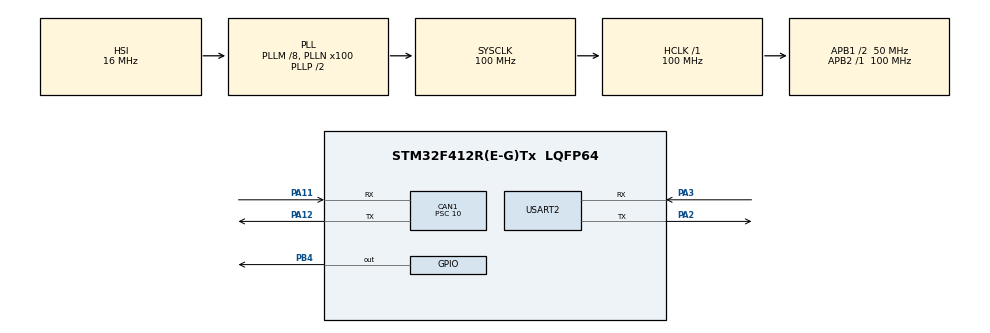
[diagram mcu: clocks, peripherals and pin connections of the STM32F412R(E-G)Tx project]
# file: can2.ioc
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CAN1.BS1=CAN_BS1_7TQ
CAN1.BS2=CAN_BS2_2TQ
CAN1.CalculateBaudRate=500000
CAN1.CalculateTimeBit=2000
CAN1.CalculateTimeQuantum=200.0
CAN1.Prescaler=10
Mcu.Family=STM32F4
Mcu.Name=STM32F412R(E-G)Tx
Mcu.Package=LQFP64
NVIC.CAN1_RX0_IRQn=true\:0\:0\:false\:false\:true\:true\:true\:true
NVIC.PriorityGroup=NVIC_PRIORITYGROUP_4
PA11.GPIO_PuPd=GPIO_NOPULL
PA11.Mode=CAN_Activate
PA11.Signal=CAN1_RX
PA12.Mode=CAN_Activate
PA12.Signal=CAN1_TX
PA2.Mode=Asynchronous
PA2.Signal=USART2_TX
PA3.Mode=Asynchronous
PA3.Signal=USART2_RX
PB4.Signal=GPIO_Output
ProjectManager.HeapSize=0x200
ProjectManager.StackSize=0x400
ProjectManager.TargetToolchain=STM32CubeIDE
RCC.AHBFreq_Value=100000000
RCC.APB1CLKDivider=RCC_HCLK_DIV2
RCC.APB1Freq_Value=50000000
RCC.APB1TimFreq_Value=100000000
RCC.APB2Freq_Value=100000000
RCC.APB2TimFreq_Value=100000000
RCC.CortexFreq_Value=100000000
RCC.HCLKFreq_Value=100000000
RCC.PLLM=8
RCC.PLLN=100
RCC.SYSCLKFreq_VALUE=100000000
RCC.SYSCLKSource=RCC_SYSCLKSOURCE_PLLCLK
RCC.USBFreq_Value=100000000
RCC.VCOOutputFreq_Value=200000000
USART2.VirtualMode=VM_ASYNC
board=custom

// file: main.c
/* USER CODE BEGIN Header */
/**
  ******************************************************************************
  * @file           : main.c
  * @brief          : Main program body
  ******************************************************************************
  * @attention
  *
  * Copyright (c) 2025 STMicroelectronics.
  * All rights reserved.
  *
  * This software is licensed under terms that can be found in the LICENSE file
  * in the root directory of this software component.
  * If no LICENSE file comes with this software, it is provided AS-IS.
  *
  ******************************************************************************
  */
/* USER CODE END Header */
#include "main.h"

/* USER CODE BEGIN Includes */
#include "stdio.h"
#include "string.h"
/* USER CODE END Includes */

CAN_HandleTypeDef hcan1;

UART_HandleTypeDef huart2;

/* USER CODE BEGIN PV */
CAN_RxHeaderTypeDef RxHeader;
CAN_TxHeaderTypeDef TxHeader; // ADDED: TX Header
uint32_t TxMailbox;           // ADDED: Mailbox Status
uint8_t TxData[8];            // ADDED: TX Data Payload
uint8_t RxData[8];
char msg[64];
/* USER CODE END PV */

void SystemClock_Config(void);
static void MX_GPIO_Init(void);
static void MX_CAN1_Init(void);
static void MX_USART2_UART_Init(void);
/* USER CODE BEGIN PFP */
void CAN_Send(void);            // ADDED: Function prototype
void CAN_ConfigFilter_Specific(void); // Renamed function prototype
/* USER CODE END PFP */

/* USER CODE BEGIN 0 */

void HAL_CAN_RxFifo0MsgPendingCallback(CAN_HandleTypeDef *hcan)
{
  HAL_CAN_GetRxMessage(hcan, CAN_RX_FIFO0, &RxHeader, RxData);

  // Print received message details
  sprintf(msg,"RX ID: 0x%03X Data:", (unsigned int)RxHeader.StdId);
  HAL_UART_Transmit(&huart2, (uint8_t *)msg, strlen(msg), HAL_MAX_DELAY);
  for (int i = 0; i < RxHeader.DLC; i++)
  {
	  sprintf(msg, " %02X", RxData[i]);
	  HAL_UART_Transmit(&huart2, (uint8_t*)msg, strlen(msg), HAL_MAX_DELAY);
  }
  HAL_UART_Transmit(&huart2, (uint8_t*)"\r\n", 2, HAL_MAX_DELAY);

  HAL_GPIO_TogglePin(GPIOB, GPIO_PIN_4); // blink LED on RX
}

// Function to send a message (TX ID is 0x103 for Node B)
void CAN_Send(void)
{
  TxHeader.DLC = 8;
  TxHeader.StdId = 0x103; // *** NODE B TX ID ***
  TxHeader.IDE = CAN_ID_STD;
  TxHeader.RTR = CAN_RTR_DATA;
  TxHeader.TransmitGlobalTime = DISABLE;

  // Example data payload (Data 50 to 57)
  for (int i = 0; i < 8; i++) TxData[i] = 0 + i;

  // Check if a TX mailbox is available
  if (HAL_CAN_GetTxMailboxesFreeLevel(&hcan1) == 0)
  {
      sprintf(msg, "TX FAIL: No Mailbox Free\r\n");
  }
  else
  {

      HAL_StatusTypeDef status = HAL_CAN_AddTxMessage(&hcan1, &TxHeader, TxData, &TxMailbox);

      if (status == HAL_OK)
      {
          sprintf(msg, "TX OK ID: 0x%03X Mailbox:%lu\r\n", (unsigned int)TxHeader.StdId, TxMailbox);
      }
      else
      {
          uint32_t error = HAL_CAN_GetError(&hcan1);
          sprintf(msg, "TX FAIL (Error: %lu)\r\n", error);
      }
  }
  HAL_UART_Transmit(&huart2, (uint8_t *)msg, strlen(msg), HAL_MAX_DELAY);
}

// Function to configure filter (RX ID is 0x123 for Node B)
void CAN_ConfigFilter_Specific(void)
{
  CAN_FilterTypeDef sFilterConfig = {0};
  sFilterConfig.FilterBank = 0;
  sFilterConfig.FilterMode = CAN_FILTERMODE_IDMASK;
  sFilterConfig.FilterScale = CAN_FILTERSCALE_32BIT;

  // *** NODE B RX FILTER ID (Listens for Node A's ID) ***
  sFilterConfig.FilterIdHigh = 0x123 << 5;
  sFilterConfig.FilterIdLow = 0x0000;

  sFilterConfig.FilterMaskIdHigh = 0x7FF << 5; // Exact 11-bit ID match
  sFilterConfig.FilterMaskIdLow = 0x0000;

  sFilterConfig.FilterFIFOAssignment = CAN_RX_FIFO0;
  sFilterConfig.FilterActivation = ENABLE;
  sFilterConfig.SlaveStartFilterBank = 14;
  sFilterConfig.FilterMode = CAN_FILTERMODE_IDMASK;
  sFilterConfig.FilterMode = CAN_ID_STD;

  if (HAL_CAN_ConfigFilter(&hcan1, &sFilterConfig) != HAL_OK)
  {
      Error_Handler();
  }
}
/* USER CODE END 0 */

int main(void)
{
  /* MCU Configuration--------------------------------------------------------*/
  HAL_Init();
  SystemClock_Config();
  MX_GPIO_Init();
  MX_CAN1_Init();
  MX_USART2_UART_Init();
  /* USER CODE BEGIN 2 */

  // *** USE THE SPECIFIC FILTER FUNCTION ***
  CAN_ConfigFilter_Specific();

  if (HAL_CAN_Start(&hcan1) != HAL_OK) {
          Error_Handler();
      }
  else{
	  sprintf(msg,"CAN RX ready (Node B: Listening for 0x123)\r\n");
	  HAL_UART_Transmit(&huart2, (uint8_t*)msg, strlen(msg), HAL_MAX_DELAY);
  }

      // Activate CAN RX notification
      if (HAL_CAN_ActivateNotification(&hcan1, CAN_IT_RX_FIFO0_MSG_PENDING) != HAL_OK) {
          Error_Handler();
      }
  /* USER CODE END 2 */

  /* Infinite loop */
  /* USER CODE BEGIN WHILE */
  while (1)
  {
	  CAN_Send(); // Send Node B's message (0x103)
	  HAL_Delay(1000); // Wait 1 second before sending again
    /* USER CODE END WHILE */

  }
}

void SystemClock_Config(void)
{
  RCC_OscInitTypeDef RCC_OscInitStruct = {0};
  RCC_ClkInitTypeDef RCC_ClkInitStruct = {0};

  /** Configure the main internal regulator output voltage
  */
  __HAL_RCC_PWR_CLK_ENABLE();
  __HAL_PWR_VOLTAGESCALING_CONFIG(PWR_REGULATOR_VOLTAGE_SCALE1);

  /** Initializes the RCC Oscillators according to the specified parameters
  * in the RCC_OscInitTypeDef structure.
  */
  RCC_OscInitStruct.OscillatorType = RCC_OSCILLATORTYPE_HSI;
  RCC_OscInitStruct.HSIState = RCC_HSI_ON;
  RCC_OscInitStruct.HSICalibrationValue = RCC_HSICALIBRATION_DEFAULT;
  RCC_OscInitStruct.PLL.PLLState = RCC_PLL_ON;
  RCC_OscInitStruct.PLL.PLLSource = RCC_PLLSOURCE_HSI;
  RCC_OscInitStruct.PLL.PLLM = 8;
  RCC_OscInitStruct.PLL.PLLN = 100;
  RCC_OscInitStruct.PLL.PLLP = RCC_PLLP_DIV2;
  RCC_OscInitStruct.PLL.PLLQ = 2;
  RCC_OscInitStruct.PLL.PLLR = 2;
  if (HAL_RCC_OscConfig(&RCC_OscInitStruct) != HAL_OK)
  {
    Error_Handler();
  }

  /** Initializes the CPU, AHB and APB buses clocks
  */
  RCC_ClkInitStruct.ClockType = RCC_CLOCKTYPE_HCLK|RCC_CLOCKTYPE_SYSCLK
                              |RCC_CLOCKTYPE_PCLK1|RCC_CLOCKTYPE_PCLK2;
  RCC_ClkInitStruct.SYSCLKSource = RCC_SYSCLKSOURCE_PLLCLK;
  RCC_ClkInitStruct.AHBCLKDivider = RCC_SYSCLK_DIV1;
  RCC_ClkInitStruct.APB1CLKDivider = RCC_HCLK_DIV2;
  RCC_ClkInitStruct.APB2CLKDivider = RCC_HCLK_DIV1;

  if (HAL_RCC_ClockConfig(&RCC_ClkInitStruct, FLASH_LATENCY_3) != HAL_OK)
  {
    Error_Handler();
  }
}

static void MX_CAN1_Init(void)
{

  hcan1.Instance = CAN1;
  hcan1.Init.Prescaler = 10;
  hcan1.Init.Mode = CAN_MODE_NORMAL;
  hcan1.Init.SyncJumpWidth = CAN_SJW_1TQ;
  hcan1.Init.TimeSeg1 = CAN_BS1_7TQ;
  hcan1.Init.TimeSeg2 = CAN_BS2_2TQ;
  hcan1.Init.TimeTriggeredMode = DISABLE;
  hcan1.Init.AutoBusOff = DISABLE;
  hcan1.Init.AutoWakeUp = DISABLE;
  hcan1.Init.AutoRetransmission = DISABLE;
  hcan1.Init.ReceiveFifoLocked = DISABLE;
  hcan1.Init.TransmitFifoPriority = DISABLE;
  if (HAL_CAN_Init(&hcan1) != HAL_OK)
  {
    Error_Handler();
  }

}

static void MX_USART2_UART_Init(void)
{

  huart2.Instance = USART2;
  huart2.Init.BaudRate = 115200;
  huart2.Init.WordLength = UART_WORDLENGTH_8B;
  huart2.Init.StopBits = UART_STOPBITS_1;
  huart2.Init.Parity = UART_PARITY_NONE;
  huart2.Init.Mode = UART_MODE_TX_RX;
  huart2.Init.HwFlowCtl = UART_HWCONTROL_NONE;
  huart2.Init.OverSampling = UART_OVERSAMPLING_16;
  if (HAL_UART_Init(&huart2) != HAL_OK)
  {
    Error_Handler();
  }

}

static void MX_GPIO_Init(void)
{
  GPIO_InitTypeDef GPIO_InitStruct = {0};

  /* GPIO Ports Clock Enable */
  __HAL_RCC_GPIOA_CLK_ENABLE();
  __HAL_RCC_GPIOB_CLK_ENABLE();

  /*Configure GPIO pin Output Level */
  HAL_GPIO_WritePin(GPIOB, GPIO_PIN_4, GPIO_PIN_RESET);

  /*Configure GPIO pin : PB4 */
  GPIO_InitStruct.Pin = GPIO_PIN_4;
  GPIO_InitStruct.Mode = GPIO_MODE_OUTPUT_PP;
  GPIO_InitStruct.Pull = GPIO_NOPULL;
  GPIO_InitStruct.Speed = GPIO_SPEED_FREQ_LOW;
  HAL_GPIO_Init(GPIOB, &GPIO_InitStruct);

}

void Error_Handler(void)
{
  __disable_irq();
  while (1)
  {
  }
}
